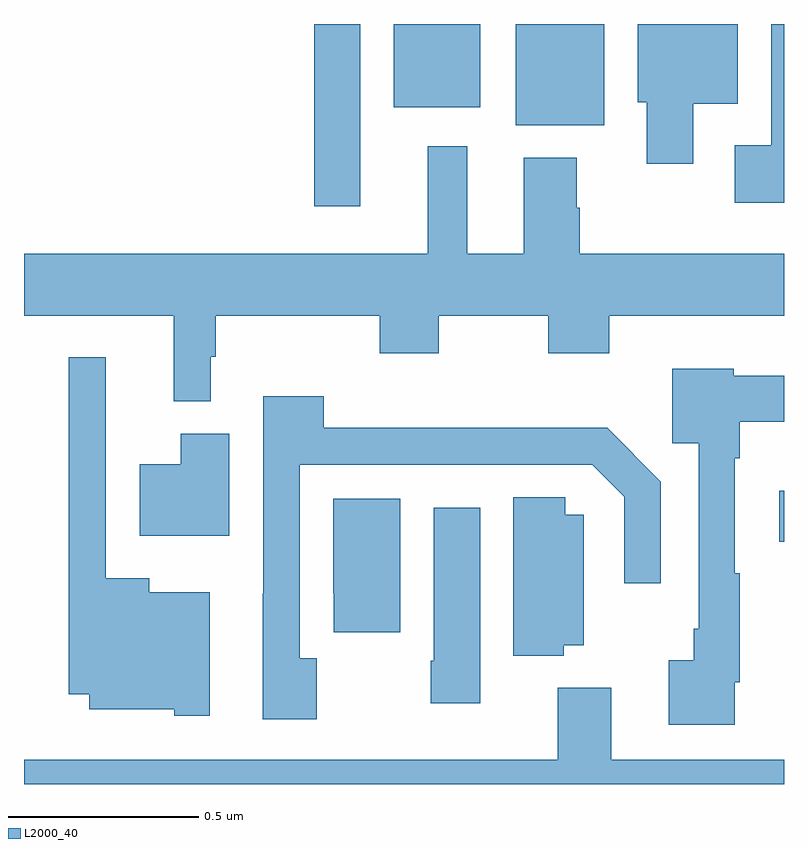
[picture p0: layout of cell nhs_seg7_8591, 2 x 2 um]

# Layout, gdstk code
import gdstk
lib = gdstk.Library(unit=1e-6, precision=1e-09)
def R(c, l, rs):  # rectangles x0, y0, x1, y1
    for r in rs: c.add(gdstk.rectangle(r[:2], r[2:], *l))
def P(c, l, *ps):  # polygons
    for p in ps: c.add(gdstk.Polygon(p, *l))
L2000_40 = (2000, 40)

nhs_seg7_8591 = lib.new_cell('nhs_seg7_8591')
R(nhs_seg7_8591, L2000_40, [(227.988,1050.638,228,1050.772), (226.764,1051.521,226.885,1052), (227.294,1051.733,227.527,1052), (226.973,1051.781,227.2,1052)])
P(nhs_seg7_8591, L2000_40, [(227.761,1051.79),(227.878,1051.79),(227.878,1052),(227.615,1052),(227.615,1051.794),(227.639,1051.794),(227.639,1051.632),(227.761,1051.632)],
  [(228,1052),(227.966,1052),(227.966,1051.681),(227.871,1051.681),(227.871,1051.529),(228,1051.529)],
  [(226.492,1051.125),(226.504,1051.125),(226.504,1051.232),(226.936,1051.232),(226.936,1051.133),(227.091,1051.133),(227.091,1051.232),(227.38,1051.232),(227.38,1051.133),(227.54,1051.133),(227.54,1051.232),(228,1051.232),(228,1051.396),(227.463,1051.396),(227.463,1051.517),(227.455,1051.517),(227.455,1051.648),(227.315,1051.648),(227.315,1051.396),(227.167,1051.396),(227.167,1051.678),(227.063,1051.678),(227.063,1051.396),(226,1051.396),(226,1051.232),(226.394,1051.232),(226.394,1051.007),(226.492,1051.007)],
  [(226.489,1050.505),(226.33,1050.505),(226.33,1050.541),(226.215,1050.541),(226.215,1051.123),(226.118,1051.123),(226.118,1050.236),(226.172,1050.236),(226.172,1050.197),(226.395,1050.197),(226.395,1050.179),(226.489,1050.179)],
  [(227.871,1050.268),(227.884,1050.268),(227.884,1050.554),(227.871,1050.554),(227.871,1050.857),(227.884,1050.857),(227.884,1050.953),(228,1050.953),(228,1051.075),(227.868,1051.075),(227.868,1051.093),(227.706,1051.093),(227.706,1050.897),(227.775,1050.897),(227.775,1050.409),(227.763,1050.409),(227.763,1050.326),(227.697,1050.326),(227.697,1050.156),(227.871,1050.156)],
  [(226.771,1050.331),(226.725,1050.331),(226.725,1050.84),(227.496,1050.84),(227.58,1050.756),(227.58,1050.528),(227.676,1050.528),(227.676,1050.796),(227.535,1050.938),(226.789,1050.938),(226.789,1051.021),(226.629,1051.021),(226.629,1050.501),(226.628,1050.501),(226.628,1050.171),(226.771,1050.171)],
  [(226.54,1050.922),(226.412,1050.922),(226.412,1050.841),(226.304,1050.841),(226.304,1050.653),(226.54,1050.653)],
  [(227.421,1050.365),(227.473,1050.365),(227.473,1050.708),(227.424,1050.708),(227.424,1050.755),(227.288,1050.755),(227.288,1050.338),(227.421,1050.338)],
  [(226.99,1050.751),(226.814,1050.751),(226.814,1050.502),(226.815,1050.502),(226.815,1050.399),(226.99,1050.399)],
  [(227.2,1050.727),(227.078,1050.727),(227.078,1050.325),(227.071,1050.325),(227.071,1050.213),(227.2,1050.213)],
  [(228,1050.064),(227.545,1050.064),(227.545,1050.253),(227.405,1050.253),(227.405,1050.064),(226,1050.064),(226,1050),(228,1050)])

lib.write_gds('nhs_seg7_8591.gds')
